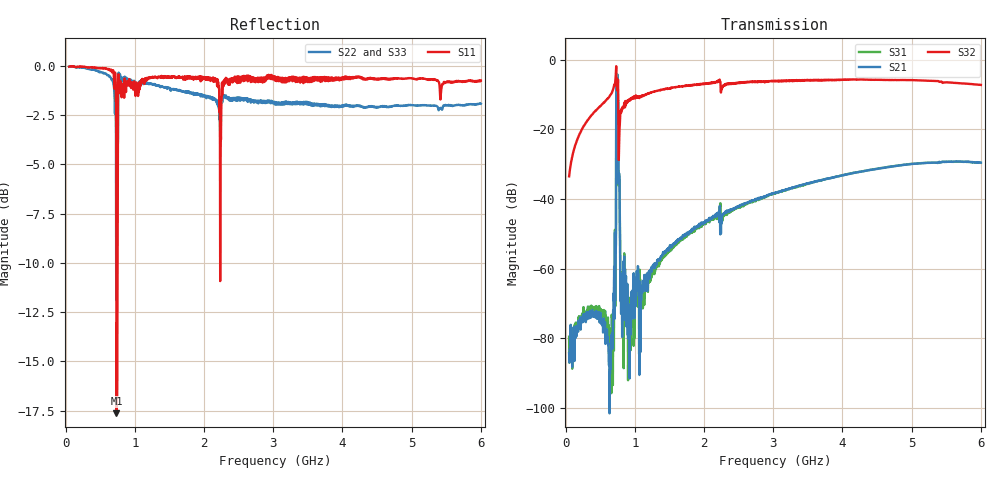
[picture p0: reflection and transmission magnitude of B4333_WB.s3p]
! Matrix data file written by TouchstoneData, EPCOS AG
! FILENAME: "B4333_X43Y32_WB.snp"
! COMMENT: "(TS/AB84A_2_X43Y32_WB.s3p) Epcos AG 4/21/201"
! INFO: nport=3, nfreq=1601
! DATE: "Thu Aug  7 16:02:44 2014"
! USER: "Dan Wang"
! port | pin | signal
!  1  |  1  |  input
!  2  |  3  |  output
!  3  |  4  |  output
# MHZ S RI R 50
! freq  reS11 imS11  reS12 imS12  reS13 imS13  ...
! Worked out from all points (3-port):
!   1601 points, 50 MHz to 6 GHz, reference 50 ohm
!   strongest paths, dB at 50 MHz, 1.538 GHz, 3.025 GHz, 4.513 GHz, 6 GHz:
!     S32: -33.5, -8.1, -6.1, -5.8, -7.3
!     S21: -84.2, -53.8, -38.2, -31.3, -29.6
!     S31: -79.5, -54.0, -38.4, -31.2, -29.6
!   lowest |S11| = -17.6 dB at 734.2 MHz (marker M1), VSWR 1.30, Z = 49.2 + j13.1 ohm
!   |S11| at or under -10 dB: 732.2 MHz to 750.8 MHz (18.58 MHz wide, 2.51 % of centre); 2.232487 GHz to 2.233478 GHz (990.4 kHz wide, 0.0444 % of centre)
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50  0.9915 -0.0794  5.79e-05 2.05e-05  0.000101 -3.21e-05
    5.79e-05 2.05e-05  0.9944 -0.044  0.000643 0.0211
    0.000101 -3.21e-05  0.000643 0.0211  0.9959 -0.0439
667.3125  0.3151 -0.9118  -3.33e-05 0.0001  -0.000164 0.000146
          -3.33e-05 0.0001  0.744 -0.5477  0.2054 0.2611
          -0.000164 0.000146  0.2054 0.2611  0.7394 -0.5527
697.0625  0.119 -0.9288  -0.000341 -2.58e-05  -6.66e-05 -7.82e-06
          -0.000341 -2.58e-05  0.6531 -0.5959  0.2919 0.2992
          -6.66e-05 -7.82e-06  0.2919 0.2992  0.6495 -0.5991
734.25  0.00903 0.131  -0.185 -0.5598  0.1863 0.5595
        -0.185 -0.5598  0.447 -0.227  0.4918 -0.0942
        0.1863 0.5595  0.4918 -0.0942  0.4486 -0.2317
760.2812  0.9118 -0.0569  -0.0347 0.0418  0.0342 -0.0355
          -0.0347 0.0418  0.9299 -0.1143  0.00914 -0.177
          0.0342 -0.0355  0.00914 -0.177  0.9285 -0.1253
812.3438  0.565 -0.6653  0.000621 -0.000349  -0.000463 0.000705
          0.000621 -0.000349  0.8018 -0.4743  0.127 0.1362
          -0.000463 0.000705  0.127 0.1362  0.7979 -0.4792
920.1875  0.4153 -0.8268  -0.000179 -4.27e-05  -0.000163 0.000143
          -0.000179 -4.27e-05  0.7253 -0.5635  0.1879 0.1897
          -0.000163 0.000143  0.1879 0.1897  0.7223 -0.5727
1593.281  -0.1606 -0.922  -0.00237 -0.000523  -0.00212 -0.000535
          -0.00237 -0.000523  0.4113 -0.7666  0.3634 0.1694
          -0.00212 -0.000535  0.3634 0.1694  0.4081 -0.7694
3025  -0.7179 -0.5831  -0.0118 0.00349  -0.0115 0.00344
      -0.0118 0.00349  -0.0799 -0.7987  0.4926 -0.071
      -0.0115 0.00344  0.4926 -0.071  -0.0746 -0.8
6000  -0.8863 0.2372  -0.0186 0.0276  -0.0168 0.0284
      -0.0186 0.0276  -0.6936 -0.402  0.1961 -0.3854
      -0.0168 0.0284  0.1961 -0.3854  -0.7418 -0.2872
